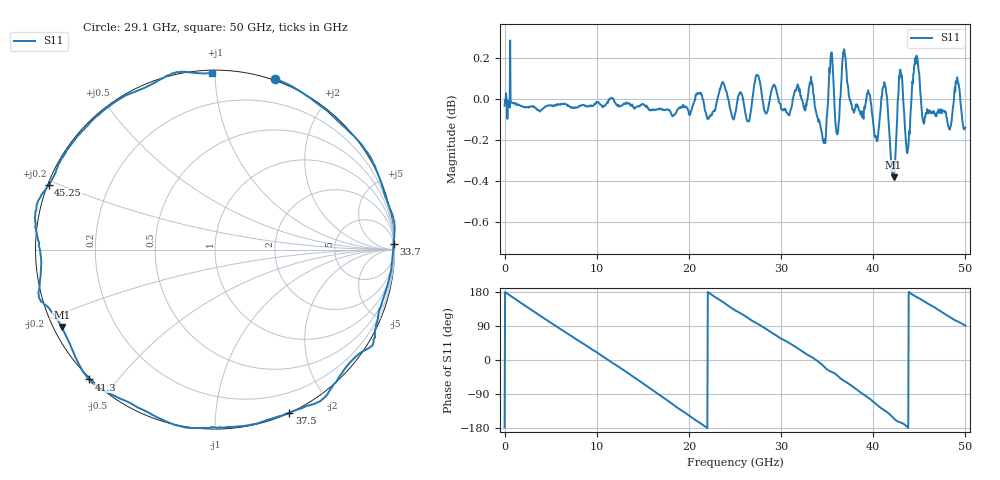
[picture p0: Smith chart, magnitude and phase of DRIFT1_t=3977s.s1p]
!Created with skrf (http://scikit-rf.org).
# Hz S RI R 50.0
!freq ReS11 ImS11
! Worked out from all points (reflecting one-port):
!   1001 points, 300 kHz to 50 GHz, reference 50 ohm
!   lowest |S11| = -0.4 dB at 42.2 GHz (marker M1), VSWR 45.51, Z = 1.16 - j11.9 ohm
!   phase of S11 starts at -178 deg and turns -811 deg over the sweep
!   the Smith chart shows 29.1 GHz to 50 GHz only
!   S11 on the Smith chart (normalised r, x): 29.1 GHz: -0.01, +1.42; 33.7 GHz: 9, +62; 37.5 GHz: 0.00, -1.55; 41.3 GHz: -0.00, -0.42; 45.25 GHz: 0.00, +0.19; 50 GHz: 0.02, +0.98
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300000  -0.9953 -0.0402
1.60029e9  -0.893 0.4424
3.40028e9  -0.5594 0.8223
6.250262e9  0.1964 0.9775
7.850253e9  0.5923 0.7996
9.550243e9  0.8904 0.4466
1.115023e10  0.9978 0.0279
1.250022e10  0.9356 -0.3408
1.425021e10  0.6553 -0.7491
1.580021e10  0.2544 -0.9603
1.73002e10  -0.1852 -0.9763
1.875019e10  -0.585 -0.8036
2.165017e10  -0.9906 -0.1116
2.350016e10  -0.9209 0.4088
2.500015e10  -0.6555 0.7438
2.725014e10  -0.1457 1.002
2.910013e10  0.3362 0.9489
3.125011e10  0.7705 0.6363
3.37001e10  0.9948 0.0314
3.560009e10  0.8591 -0.547
3.750008e10  0.4135 -0.9095
3.945006e10  -0.1619 -0.9918
4.130005e10  -0.7009 -0.7234
4.220005e10  -0.8541 -0.4318
4.375004e10  -0.9715 -0.0333
4.525003e10  -0.9271 0.3605
4.775001e10  -0.5231 0.8435
5e10  -0.0156 0.9839
